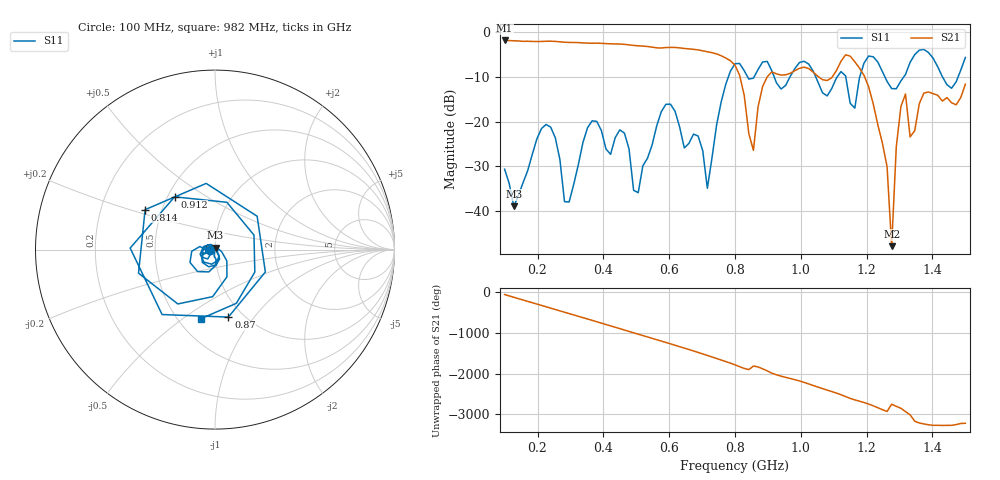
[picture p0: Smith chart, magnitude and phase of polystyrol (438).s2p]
! NanoVNA-App
! Date: 2025-09-25 15:33:18
! Start: 100MHz Stop: 1,5GHz Points: 101
! S-Parameter data: F S11 S21 S12 S22
# Hz S RI R 50
!  Frequency  S11_Real  S11_Imag  S21_Real  S21_Imag  S12_Real  S12_Imag  S22_Real  S22_Imag
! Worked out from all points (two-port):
!   101 points, 100 MHz to 1.5 GHz, reference 50 ohm
!   highest |S21| = -1.80 dB at 100 MHz (marker M1); lowest = -48.0 dB at 1.276 GHz (marker M2)
!   |S21| within 3 dB of the highest: start of sweep to 743.3 MHz
!   lowest |S11| = -39.1 dB at 128 MHz (marker M3), VSWR 1.02, Z = 50.3 + j1.06 ohm
!   |S11| at or under -10 dB: start of sweep to 779.8 MHz; 1.045 GHz to 1.11 GHz (64.95 MHz wide, 6.03 % of centre); 1.256 GHz to 1.313 GHz (56.98 MHz wide, 4.44 % of centre)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
!   S12 and S22 are empty: the file has one direction only
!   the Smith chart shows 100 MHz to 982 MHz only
!   S11 on the Smith chart (normalised r, x): 100 MHz: 0.94, -0.01; 814 MHz: 0.40, +0.22; 870 MHz: 0.86, -0.75; 912 MHz: 0.54, +0.37; 982 MHz: 0.64, -0.59
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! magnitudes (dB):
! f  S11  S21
! 100 MHz  -30.7  -1.8
! 128 MHz  -39.1  -1.9
! 212 MHz  -21.6  -2.0
! 282 MHz  -38.0  -2.2
! 338 MHz  -24.7  -2.3
! 464 MHz  -22.6  -2.7
! 506 MHz  -36.0  -3.0
! 576 MHz  -17.8  -3.5
! 716 MHz  -35.0  -4.3
! 800 MHz  -7.0  -7.4
! 814 MHz  -7.0  -9.6
! 856 MHz  -10.3  -26.5
! 870 MHz  -8.3  -16.7
! 912 MHz  -8.6  -8.9
! 982 MHz  -8.1  -8.6
! 1.038 GHz  -8.7  -8.9
! 1.192 GHz  -6.9  -9.6
! 1.262 GHz  -11.0  -30.1
! 1.276 GHz  -12.6  -48.0
! 1.29 GHz  -12.6  -25.7
! 1.318 GHz  -9.4  -13.8
! 1.5 GHz  -5.6  -11.6
